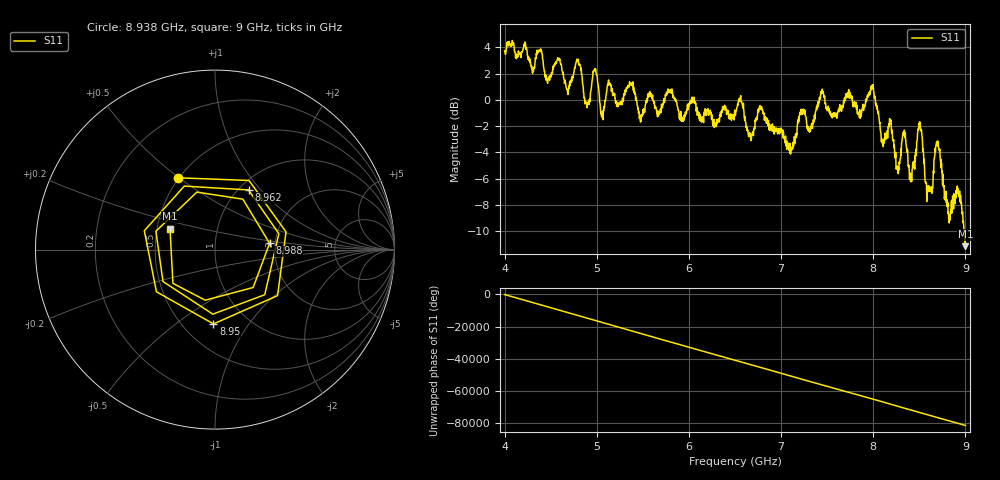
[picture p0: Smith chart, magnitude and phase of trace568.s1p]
! Created with skrf 1.8.0 (http://scikit-rf.org).
# Hz S RI R 50.0
!freq ReS11 ImS11
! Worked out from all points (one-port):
!   1601 points, 4 GHz to 9 GHz, reference 50 ohm
!   lowest |S11| = -11.2 dB at 9 GHz (marker M1), VSWR 1.77, Z = 29.3 + j7.43 ohm
!   |S11| at or under -10 dB: 8.985258 GHz to end of sweep
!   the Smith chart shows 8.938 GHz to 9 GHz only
!   S11 on the Smith chart (normalised r, x): 8.938 GHz: 0.50, +0.50; 8.95 GHz: 0.70, -0.70; 8.962 GHz: 1.11, +0.86; 8.988 GHz: 1.87, +0.15; 9 GHz: 0.59, +0.15
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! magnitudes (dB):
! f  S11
! 4 GHz  3.8
! 4.625 GHz  2.2
! 5.25 GHz  -0.2
! 5.366 GHz  1.2
! 5.475 GHz  -1.7
! 5.875 GHz  -0.5
! 6.5 GHz  -1.2
! 6.566 GHz  -0.1
! 6.669 GHz  -2.8
! 6.775 GHz  -0.7
! 7.125 GHz  -3.7
! 7.441 GHz  0.7
! 7.559 GHz  -1.2
! 7.75 GHz  0.4
! 7.85 GHz  -1.3
! 7.994 GHz  1.0
! 8.1 GHz  -3.3
! 8.375 GHz  -4.1
! 8.425 GHz  -5.2
! 8.506 GHz  -2.0
! 8.594 GHz  -6.9
! 8.697 GHz  -3.1
! 8.819 GHz  -9.0
! 8.938 GHz  -7.0
! 8.95 GHz  -7.7
! 8.962 GHz  -8.4
! 8.988 GHz  -10.3
! 9 GHz  -11.2
